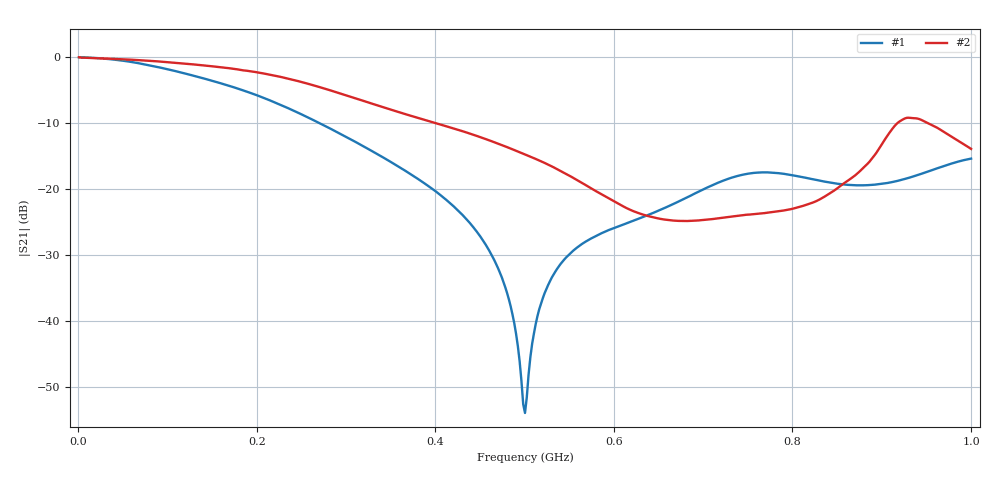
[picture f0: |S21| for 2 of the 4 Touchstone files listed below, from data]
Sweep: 1 MHz to 1 GHz
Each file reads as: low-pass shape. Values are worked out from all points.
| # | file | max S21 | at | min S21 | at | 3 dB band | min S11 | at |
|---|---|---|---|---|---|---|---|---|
| 1 | LibreVNA_Ind_config3.s2p | 0.02 dB | 1 MHz | -53.9 dB | 500.5 MHz | 1 MHz-134.9 MHz | -44.4 dB | 1 MHz |
| 2 | LibreVNA_Ind_config3_forFun.s2p | 0.02 dB | 1 MHz | -24.8 dB | 682.3 MHz | 1 MHz-226.8 MHz | -46.2 dB | 1 MHz |
| 3 | LibreVNA_Ind_config3_forFun_RI.s2p | 0.02 dB | 1 MHz | -24.8 dB | 682.3 MHz | 1 MHz-226.8 MHz | -46.2 dB | 1 MHz |
| 4 | LibreVNA_Ind_config3_RI.s2p | 0.02 dB | 1 MHz | -53.9 dB | 500.5 MHz | 1 MHz-134.9 MHz | -44.4 dB | 1 MHz |
